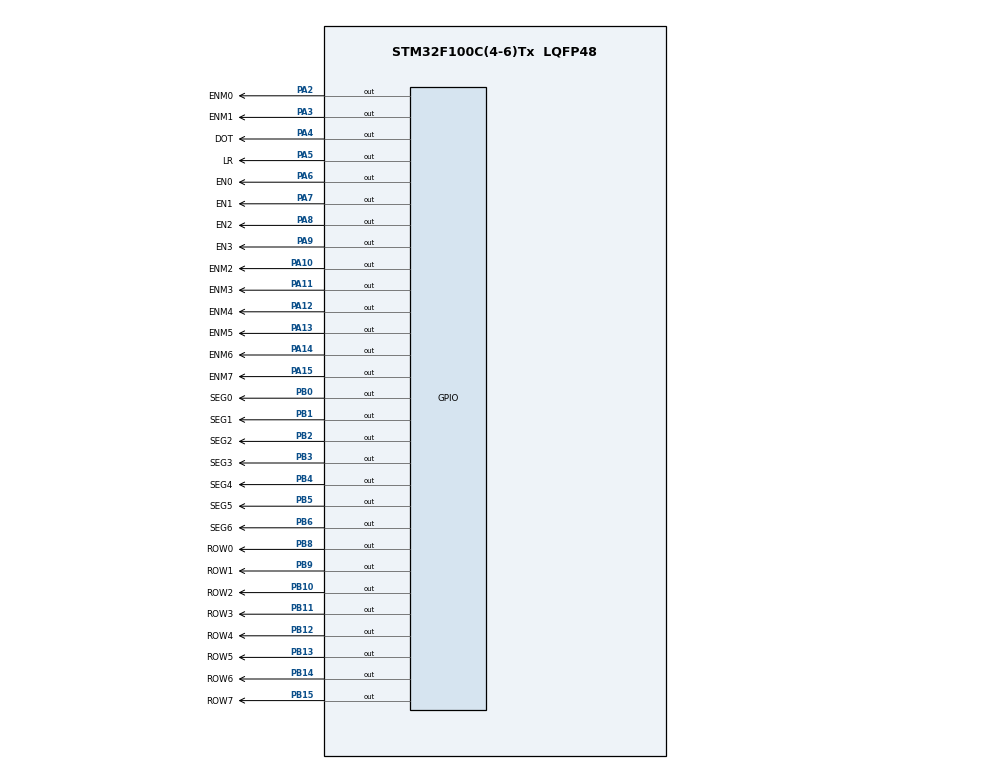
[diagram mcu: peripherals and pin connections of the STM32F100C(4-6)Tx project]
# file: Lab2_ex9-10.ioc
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Mcu.Family=STM32F1
Mcu.Name=STM32F100C(4-6)Tx
Mcu.Package=LQFP48
NVIC.PriorityGroup=NVIC_PRIORITYGROUP_4
NVIC.TIM2_IRQn=true\:0\:0\:false\:false\:true\:true\:true\:true
PA10.GPIO_Label=ENM2
PA10.Signal=GPIO_Output
PA11.GPIO_Label=ENM3
PA11.Signal=GPIO_Output
PA12.GPIO_Label=ENM4
PA12.Signal=GPIO_Output
PA13.GPIO_Label=ENM5
PA13.Signal=GPIO_Output
PA14.GPIO_Label=ENM6
PA14.Signal=GPIO_Output
PA15.GPIO_Label=ENM7
PA15.Signal=GPIO_Output
PA2.GPIO_Label=ENM0
PA2.Signal=GPIO_Output
PA3.GPIO_Label=ENM1
PA3.Signal=GPIO_Output
PA4.GPIO_Label=DOT
PA4.Signal=GPIO_Output
PA5.GPIO_Label=LR
PA5.Signal=GPIO_Output
PA6.GPIO_Label=EN0
PA6.Signal=GPIO_Output
PA7.GPIO_Label=EN1
PA7.Signal=GPIO_Output
PA8.GPIO_Label=EN2
PA8.Signal=GPIO_Output
PA9.GPIO_Label=EN3
PA9.Signal=GPIO_Output
PB0.GPIO_Label=SEG0
PB0.Signal=GPIO_Output
PB1.GPIO_Label=SEG1
PB1.Signal=GPIO_Output
PB10.GPIO_Label=ROW2
PB10.Signal=GPIO_Output
PB11.GPIO_Label=ROW3
PB11.Signal=GPIO_Output
PB12.GPIO_Label=ROW4
PB12.Signal=GPIO_Output
PB13.GPIO_Label=ROW5
PB13.Signal=GPIO_Output
PB14.GPIO_Label=ROW6
PB14.Signal=GPIO_Output
PB15.GPIO_Label=ROW7
PB15.Signal=GPIO_Output
PB2.GPIO_Label=SEG2
PB2.Signal=GPIO_Output
PB3.GPIO_Label=SEG3
PB3.Signal=GPIO_Output
PB4.GPIO_Label=SEG4
PB4.Signal=GPIO_Output
PB5.GPIO_Label=SEG5
PB5.Signal=GPIO_Output
PB6.GPIO_Label=SEG6
PB6.Signal=GPIO_Output
PB8.GPIO_Label=ROW0
PB8.Signal=GPIO_Output
PB9.GPIO_Label=ROW1
PB9.Signal=GPIO_Output
ProjectManager.HeapSize=0x200
ProjectManager.StackSize=0x400
ProjectManager.TargetToolchain=STM32CubeIDE
RCC.APB1Freq_Value=8000000
RCC.APB2Freq_Value=8000000
TIM2.Period=1
TIM2.Prescaler=7999
VP_SYS_VS_ND.Mode=No_Debug
VP_TIM2_VS_ClockSourceINT.Mode=Internal
board=custom

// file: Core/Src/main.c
/* USER CODE BEGIN Header */
/**
  ******************************************************************************
  * @file           : main.c
  * @brief          : Main program body
  ******************************************************************************
  * @attention
  *
  * Copyright (c) 2024 STMicroelectronics.
  * All rights reserved.
  *
  * This software is licensed under terms that can be found in the LICENSE file
  * in the root directory of this software component.
  * If no LICENSE file comes with this software, it is provided AS-IS.
  *
  ******************************************************************************
  */
/* USER CODE END Header */
#include "main.h"

/* USER CODE BEGIN Includes */
#include "software_timer.h"
/* USER CODE END Includes */

TIM_HandleTypeDef htim2;

void SystemClock_Config(void);
static void MX_GPIO_Init(void);
static void MX_TIM2_Init(void);

/* USER CODE BEGIN 0 */
//khai bao bien
extern int led_buffer[];
const int MAX_LED_MATRIX = 8;
int index_led_matrix = 0;

int scroll_index = 0;

uint8_t matrix_buffer[8] = {
	    0x18,  // 00011000
	    0x24,  // 00100100
	    0x24,  // 00100100
	    0x7E,  // 01111110
	    0x7E,  // 01111110
	    0x42,  // 01000010
	    0x42,  // 01000010
		0x42,

};

uint8_t full_matrix_buffer[16] = {
    0x00, // 0 - Hàng trống dưới cùng
    0x00, // 1
    0x00, // 2
    0x00, // 3
    0x18, // 4  - Dữ liệu chữ "A" bắt đầu từ đây
    0x24, // 5
    0x24, // 6
    0x7E, // 7
    0x7E, // 8
    0x42, // 9
    0x42, // 10
    0x42, // 11
    0x00, // 12 - Hàng trống trên cùng
    0x00, // 13
    0x00, // 14
    0x00  // 15
};

//end khai bao bien

//khai bao ham
void display7SEG(int num){
		 		  switch (num){

		 		  case 0: //so 0

		 			 	 		  HAL_GPIO_WritePin(GPIOB, SEG0_Pin, 0);
		 			 	 		  HAL_GPIO_WritePin(GPIOB, SEG1_Pin, 0);
		 			 	 		  HAL_GPIO_WritePin(GPIOB, SEG2_Pin, 0);
		 			 	 		  HAL_GPIO_WritePin(GPIOB, SEG3_Pin, 0);
		 			 	 		  HAL_GPIO_WritePin(GPIOB, SEG4_Pin, 0);
		 			 	 		  HAL_GPIO_WritePin(GPIOB, SEG5_Pin, 0);
		 			 	 		  HAL_GPIO_WritePin(GPIOB, SEG6_Pin, 1);

		 			 	 		  break;
		 		  case 1: //so 1

		 			 	 		  HAL_GPIO_WritePin(GPIOB, SEG0_Pin, 1);
		 			 	 		  HAL_GPIO_WritePin(GPIOB, SEG1_Pin, 0);
		 			 	 		  HAL_GPIO_WritePin(GPIOB, SEG2_Pin, 0);
		 			 	 		  HAL_GPIO_WritePin(GPIOB, SEG3_Pin, 1);
		 			 	 		  HAL_GPIO_WritePin(GPIOB, SEG4_Pin, 1);
		 			 	 		  HAL_GPIO_WritePin(GPIOB, SEG5_Pin, 1);
		 			 	 		  HAL_GPIO_WritePin(GPIOB, SEG6_Pin, 1);

		 			 	 		  break;
		 		  case 2: //so 2

		 			 	 		  HAL_GPIO_WritePin(GPIOB, SEG0_Pin, 0);
		 			 	 		  HAL_GPIO_WritePin(GPIOB, SEG1_Pin, 0);
		 			 	 		  HAL_GPIO_WritePin(GPIOB, SEG2_Pin, 1);
		 			 	 		  HAL_GPIO_WritePin(GPIOB, SEG3_Pin, 0);
		 			 	 		  HAL_GPIO_WritePin(GPIOB, SEG4_Pin, 0);
		 			 	 		  HAL_GPIO_WritePin(GPIOB, SEG5_Pin, 1);
		 			 	 		  HAL_GPIO_WritePin(GPIOB, SEG6_Pin, 0);

		 			 	 		  break;

		 		  case 3: //so 3

		 			 	 		  HAL_GPIO_WritePin(GPIOB, SEG0_Pin, 0);
		 			 	 		  HAL_GPIO_WritePin(GPIOB, SEG1_Pin, 0);
		 			 	 		  HAL_GPIO_WritePin(GPIOB, SEG2_Pin, 0);
		 			 	 		  HAL_GPIO_WritePin(GPIOB, SEG3_Pin, 0);
		 			 	 		  HAL_GPIO_WritePin(GPIOB, SEG4_Pin, 1);
		 			 	 		  HAL_GPIO_WritePin(GPIOB, SEG5_Pin, 1);
		 			 	 		  HAL_GPIO_WritePin(GPIOB, SEG6_Pin, 0);

		 			 	 		  break;
		 		  case 4: //so 4
								  HAL_GPIO_WritePin(GPIOB, SEG0_Pin, 1);
								  HAL_GPIO_WritePin(GPIOB, SEG1_Pin, 0);
								  HAL_GPIO_WritePin(GPIOB, SEG2_Pin, 0);
								  HAL_GPIO_WritePin(GPIOB, SEG3_Pin, 1);
								  HAL_GPIO_WritePin(GPIOB, SEG4_Pin, 1);
								  HAL_GPIO_WritePin(GPIOB, SEG5_Pin, 0);
								  HAL_GPIO_WritePin(GPIOB, SEG6_Pin, 0);
								  break;
		 		  case 5: //so 5
								  HAL_GPIO_WritePin(GPIOB, SEG0_Pin, 0);
								  HAL_GPIO_WritePin(GPIOB, SEG1_Pin, 1);
								  HAL_GPIO_WritePin(GPIOB, SEG2_Pin, 0);
								  HAL_GPIO_WritePin(GPIOB, SEG3_Pin, 0);
								  HAL_GPIO_WritePin(GPIOB, SEG4_Pin, 1);
								  HAL_GPIO_WritePin(GPIOB, SEG5_Pin, 0);
								  HAL_GPIO_WritePin(GPIOB, SEG6_Pin, 0);
								  break;
		 		  case 6: //so 6
								  HAL_GPIO_WritePin(GPIOB, SEG0_Pin, 0);
								  HAL_GPIO_WritePin(GPIOB, SEG1_Pin, 1);
								  HAL_GPIO_WritePin(GPIOB, SEG2_Pin, 0);
								  HAL_GPIO_WritePin(GPIOB, SEG3_Pin, 0);
								  HAL_GPIO_WritePin(GPIOB, SEG4_Pin, 0);
								  HAL_GPIO_WritePin(GPIOB, SEG5_Pin, 0);
								  HAL_GPIO_WritePin(GPIOB, SEG6_Pin, 0);
								  break;
		 		  case 7: //so 7
								  HAL_GPIO_WritePin(GPIOB, SEG0_Pin, 0);
								  HAL_GPIO_WritePin(GPIOB, SEG1_Pin, 0);
								  HAL_GPIO_WritePin(GPIOB, SEG2_Pin, 0);
								  HAL_GPIO_WritePin(GPIOB, SEG3_Pin, 1);
								  HAL_GPIO_WritePin(GPIOB, SEG4_Pin, 1);
								  HAL_GPIO_WritePin(GPIOB, SEG5_Pin, 1);
								  HAL_GPIO_WritePin(GPIOB, SEG6_Pin, 1);
								  break;
		 		  case 8: //so 8
								  HAL_GPIO_WritePin(GPIOB, SEG0_Pin, 0);
								  HAL_GPIO_WritePin(GPIOB, SEG1_Pin, 0);
								  HAL_GPIO_WritePin(GPIOB, SEG2_Pin, 0);
								  HAL_GPIO_WritePin(GPIOB, SEG3_Pin, 0);
								  HAL_GPIO_WritePin(GPIOB, SEG4_Pin, 0);
								  HAL_GPIO_WritePin(GPIOB, SEG5_Pin, 0);
								  HAL_GPIO_WritePin(GPIOB, SEG6_Pin, 0);
								  break;
		 		  case 9: //so 9
								  HAL_GPIO_WritePin(GPIOB, SEG0_Pin, 0);
								  HAL_GPIO_WritePin(GPIOB, SEG1_Pin, 0);
								  HAL_GPIO_WritePin(GPIOB, SEG2_Pin, 0);
								  HAL_GPIO_WritePin(GPIOB, SEG3_Pin, 0);
								  HAL_GPIO_WritePin(GPIOB, SEG4_Pin, 1);
								  HAL_GPIO_WritePin(GPIOB, SEG5_Pin, 0);
								  HAL_GPIO_WritePin(GPIOB, SEG6_Pin, 0);
								  break;

		 		  default:
		 			  	  	  	  break;

		 		  }

}

void updateLEDMatrix(int index) {
    HAL_GPIO_WritePin(GPIOA, ENM0_Pin | ENM1_Pin | ENM2_Pin | ENM3_Pin | ENM4_Pin | ENM5_Pin | ENM6_Pin | ENM7_Pin, GPIO_PIN_SET); // Tắt tất cả cột
    switch (index) {
        case 0: HAL_GPIO_WritePin(GPIOA, ENM0_Pin, GPIO_PIN_RESET); break;
        case 1: HAL_GPIO_WritePin(GPIOA, ENM1_Pin, GPIO_PIN_RESET); break;
        case 2: HAL_GPIO_WritePin(GPIOA, ENM2_Pin, GPIO_PIN_RESET); break;
        case 3: HAL_GPIO_WritePin(GPIOA, ENM3_Pin, GPIO_PIN_RESET); break;
        case 4: HAL_GPIO_WritePin(GPIOA, ENM4_Pin, GPIO_PIN_RESET); break;
        case 5: HAL_GPIO_WritePin(GPIOA, ENM5_Pin, GPIO_PIN_RESET); break;
        case 6: HAL_GPIO_WritePin(GPIOA, ENM6_Pin, GPIO_PIN_RESET); break;
        case 7: HAL_GPIO_WritePin(GPIOA, ENM7_Pin, GPIO_PIN_RESET); break;
        default: break;
    }
    //on/off cac led tren hang dua tren phan tu cua matrix_buffer
    HAL_GPIO_WritePin(ROW0_GPIO_Port, ROW0_Pin, (matrix_buffer[index] & 0x01) ? GPIO_PIN_RESET : GPIO_PIN_SET);
    HAL_GPIO_WritePin(ROW1_GPIO_Port, ROW1_Pin, (matrix_buffer[index] & 0x02) ? GPIO_PIN_RESET : GPIO_PIN_SET);
    HAL_GPIO_WritePin(ROW2_GPIO_Port, ROW2_Pin, (matrix_buffer[index] & 0x04) ? GPIO_PIN_RESET : GPIO_PIN_SET);
    HAL_GPIO_WritePin(ROW3_GPIO_Port, ROW3_Pin, (matrix_buffer[index] & 0x08) ? GPIO_PIN_RESET : GPIO_PIN_SET);
    HAL_GPIO_WritePin(ROW4_GPIO_Port, ROW4_Pin, (matrix_buffer[index] & 0x10) ? GPIO_PIN_RESET : GPIO_PIN_SET);
    HAL_GPIO_WritePin(ROW5_GPIO_Port, ROW5_Pin, (matrix_buffer[index] & 0x20) ? GPIO_PIN_RESET : GPIO_PIN_SET);
    HAL_GPIO_WritePin(ROW6_GPIO_Port, ROW6_Pin, (matrix_buffer[index] & 0x40) ? GPIO_PIN_RESET : GPIO_PIN_SET);
    HAL_GPIO_WritePin(ROW7_GPIO_Port, ROW7_Pin, (matrix_buffer[index] & 0x80) ? GPIO_PIN_RESET : GPIO_PIN_SET);

}

//2 cham chinh giua down
//void shiftDown() {
//    uint8_t last_row = matrix_buffer[7];  // Lưu hàng cuối cùng
//    for (int i = 7; i > 0; i--) {
//        matrix_buffer[i] = matrix_buffer[i - 1];  // Dịch từng hàng xuống
//    }
//    matrix_buffer[0] = last_row;  // Đưa hàng cuối lên đầu
//}

void updateMatrixBuffer() {
    for (int i = 0; i < 8; i++) {
        int idx = i + scroll_index;
        if (idx >= 0 && idx < 16) {
            matrix_buffer[i] = full_matrix_buffer[idx];
        } else {
            matrix_buffer[i] = 0x00; // Hàng trống
        }
    }
}

//end khai bao ham
/* USER CODE END 0 */

int main(void)
{

  /* MCU Configuration--------------------------------------------------------*/

  /* Reset of all peripherals, Initializes the Flash interface and the Systick. */
  HAL_Init();

  /* Configure the system clock */
  SystemClock_Config();

  /* Initialize all configured peripherals */
  MX_GPIO_Init();
  MX_TIM2_Init();
  /* USER CODE BEGIN 2 */
  HAL_TIM_Base_Start_IT(&htim2);

  /* USER CODE END 2 */

  /* Infinite loop */
  /* USER CODE BEGIN WHILE */

  int hour = 12 , minute = 4 , second = 50;
  const int MAX_LED = 4;
  	setTimer1(500);
  	setTimer2(100);
  	setTimer0(100);
  	setTimer3(100);
  	setTimer4(100);
  	int index_led = 0;
  	int index_led8x8 = 0;
  while (1)
  {
	  if(timer1_flag == 1){
		  index_led++;
		  switch(index_led){
		  case 1:

			  display7SEG(led_buffer[0]);

		  	  HAL_GPIO_WritePin(GPIOA, EN0_Pin, 0);
			  HAL_GPIO_WritePin(GPIOA, EN1_Pin, 1);
			  HAL_GPIO_WritePin(GPIOA, EN2_Pin, 1);
			  HAL_GPIO_WritePin(GPIOA, EN3_Pin, 1);

			  break;
		  case 2:
			  display7SEG(led_buffer[1]);

			  HAL_GPIO_WritePin(GPIOA, EN0_Pin, 1);
			  HAL_GPIO_WritePin(GPIOA, EN1_Pin, 0);
			  HAL_GPIO_WritePin(GPIOA, EN2_Pin, 1);
			  HAL_GPIO_WritePin(GPIOA, EN3_Pin, 1);

			  break;
		  case 3:
			  display7SEG(led_buffer[2]);

			  HAL_GPIO_WritePin(GPIOA, EN0_Pin, 1);
			  HAL_GPIO_WritePin(GPIOA, EN1_Pin, 1);
			  HAL_GPIO_WritePin(GPIOA, EN2_Pin, 0);
			  HAL_GPIO_WritePin(GPIOA, EN3_Pin, 1);

			  break;
		  case 4:
			  display7SEG(led_buffer[3]);

				  HAL_GPIO_WritePin(GPIOA, EN0_Pin, 1);
				  HAL_GPIO_WritePin(GPIOA, EN1_Pin, 1);
				  HAL_GPIO_WritePin(GPIOA, EN2_Pin, 1);
				  HAL_GPIO_WritePin(GPIOA, EN3_Pin, 0);

				  break;

			  default:
				  break;
		  }
				 if(index_led >= MAX_LED){
					 index_led = 0;
				 }
				 setTimer1(500);

	  } //end if

	  //timer2_flag manages clock logic
	  	  if(timer2_flag == 1){
	  		  second++;

	  		  if ( second >= 60) {
	  		  	   second = 0;
	  		  	   minute ++;
	  		 }
	  		  if( minute >= 60) {
	  		  	   minute = 0;
	  		  	   hour ++;
	  		 }
	  		  if( hour >= 24) {
	  		  	   hour = 0;
	  		 }
	  		 updateClockBuffer(hour, minute);
	  		 setTimer2(100);
	  	  }

	  	  	 if(timer0_flag == 1){
		  		  HAL_GPIO_TogglePin(DOT_GPIO_Port , DOT_Pin);
				  HAL_GPIO_TogglePin(GPIOA, LR_Pin);
				  setTimer0(100);
	  	  	 }

	  	  	if (timer3_flag == 1) {
	  	  	    scroll_index++;
	  	  	    if (scroll_index > 8) { // 16 (kích thước mảng) - 8 (kích thước ma trận LED)
	  	  	        scroll_index = 0;
	  	  	    }
	  	  	    updateMatrixBuffer();
	  	  	    setTimer3(100);
	  	  	}

	  	  	if(timer4_flag == 1){
				  updateLEDMatrix(index_led8x8);
				  	  	  		index_led8x8++;
				  	  	  		if(index_led8x8 >= MAX_LED_MATRIX ){
				  	  	  			index_led8x8 = 0;
				  	  	  		}
				  	  	  		setTimer4(2);
	  	  	}

    /* USER CODE END WHILE */

  }
}

void SystemClock_Config(void)
{
  RCC_OscInitTypeDef RCC_OscInitStruct = {0};
  RCC_ClkInitTypeDef RCC_ClkInitStruct = {0};

  /** Initializes the RCC Oscillators according to the specified parameters
  * in the RCC_OscInitTypeDef structure.
  */
  RCC_OscInitStruct.OscillatorType = RCC_OSCILLATORTYPE_HSI;
  RCC_OscInitStruct.HSIState = RCC_HSI_ON;
  RCC_OscInitStruct.HSICalibrationValue = RCC_HSICALIBRATION_DEFAULT;
  RCC_OscInitStruct.PLL.PLLState = RCC_PLL_NONE;
  if (HAL_RCC_OscConfig(&RCC_OscInitStruct) != HAL_OK)
  {
    Error_Handler();
  }

  /** Initializes the CPU, AHB and APB buses clocks
  */
  RCC_ClkInitStruct.ClockType = RCC_CLOCKTYPE_HCLK|RCC_CLOCKTYPE_SYSCLK
                              |RCC_CLOCKTYPE_PCLK1|RCC_CLOCKTYPE_PCLK2;
  RCC_ClkInitStruct.SYSCLKSource = RCC_SYSCLKSOURCE_HSI;
  RCC_ClkInitStruct.AHBCLKDivider = RCC_SYSCLK_DIV1;
  RCC_ClkInitStruct.APB1CLKDivider = RCC_HCLK_DIV1;
  RCC_ClkInitStruct.APB2CLKDivider = RCC_HCLK_DIV1;

  if (HAL_RCC_ClockConfig(&RCC_ClkInitStruct, FLASH_LATENCY_0) != HAL_OK)
  {
    Error_Handler();
  }
}

static void MX_TIM2_Init(void)
{

  TIM_ClockConfigTypeDef sClockSourceConfig = {0};
  TIM_MasterConfigTypeDef sMasterConfig = {0};

  htim2.Instance = TIM2;
  htim2.Init.Prescaler = 7999;
  htim2.Init.CounterMode = TIM_COUNTERMODE_UP;
  htim2.Init.Period = 1;
  htim2.Init.ClockDivision = TIM_CLOCKDIVISION_DIV1;
  htim2.Init.AutoReloadPreload = TIM_AUTORELOAD_PRELOAD_DISABLE;
  if (HAL_TIM_Base_Init(&htim2) != HAL_OK)
  {
    Error_Handler();
  }
  sClockSourceConfig.ClockSource = TIM_CLOCKSOURCE_INTERNAL;
  if (HAL_TIM_ConfigClockSource(&htim2, &sClockSourceConfig) != HAL_OK)
  {
    Error_Handler();
  }
  sMasterConfig.MasterOutputTrigger = TIM_TRGO_RESET;
  sMasterConfig.MasterSlaveMode = TIM_MASTERSLAVEMODE_DISABLE;
  if (HAL_TIMEx_MasterConfigSynchronization(&htim2, &sMasterConfig) != HAL_OK)
  {
    Error_Handler();
  }

}

static void MX_GPIO_Init(void)
{
  GPIO_InitTypeDef GPIO_InitStruct = {0};

  /* GPIO Ports Clock Enable */
  __HAL_RCC_GPIOA_CLK_ENABLE();
  __HAL_RCC_GPIOB_CLK_ENABLE();

  /*Configure GPIO pin Output Level */
  HAL_GPIO_WritePin(GPIOA, ENM0_Pin|ENM1_Pin|DOT_Pin|LR_Pin
                          |EN0_Pin|EN1_Pin|EN2_Pin|EN3_Pin
                          |ENM2_Pin|ENM3_Pin|ENM4_Pin|ENM5_Pin
                          |ENM6_Pin|ENM7_Pin, GPIO_PIN_RESET);

  /*Configure GPIO pin Output Level */
  HAL_GPIO_WritePin(GPIOB, SEG0_Pin|SEG1_Pin|SEG2_Pin|ROW2_Pin
                          |ROW3_Pin|ROW4_Pin|ROW5_Pin|ROW6_Pin
                          |ROW7_Pin|SEG3_Pin|SEG4_Pin|SEG5_Pin
                          |SEG6_Pin|ROW0_Pin|ROW1_Pin, GPIO_PIN_RESET);

  /*Configure GPIO pins : ENM0_Pin ENM1_Pin DOT_Pin LR_Pin
                           EN0_Pin EN1_Pin EN2_Pin EN3_Pin
                           ENM2_Pin ENM3_Pin ENM4_Pin ENM5_Pin
                           ENM6_Pin ENM7_Pin */
  GPIO_InitStruct.Pin = ENM0_Pin|ENM1_Pin|DOT_Pin|LR_Pin
                          |EN0_Pin|EN1_Pin|EN2_Pin|EN3_Pin
                          |ENM2_Pin|ENM3_Pin|ENM4_Pin|ENM5_Pin
                          |ENM6_Pin|ENM7_Pin;
  GPIO_InitStruct.Mode = GPIO_MODE_OUTPUT_PP;
  GPIO_InitStruct.Pull = GPIO_NOPULL;
  GPIO_InitStruct.Speed = GPIO_SPEED_FREQ_LOW;
  HAL_GPIO_Init(GPIOA, &GPIO_InitStruct);

  /*Configure GPIO pins : SEG0_Pin SEG1_Pin SEG2_Pin ROW2_Pin
                           ROW3_Pin ROW4_Pin ROW5_Pin ROW6_Pin
                           ROW7_Pin SEG3_Pin SEG4_Pin SEG5_Pin
                           SEG6_Pin ROW0_Pin ROW1_Pin */
  GPIO_InitStruct.Pin = SEG0_Pin|SEG1_Pin|SEG2_Pin|ROW2_Pin
                          |ROW3_Pin|ROW4_Pin|ROW5_Pin|ROW6_Pin
                          |ROW7_Pin|SEG3_Pin|SEG4_Pin|SEG5_Pin
                          |SEG6_Pin|ROW0_Pin|ROW1_Pin;
  GPIO_InitStruct.Mode = GPIO_MODE_OUTPUT_PP;
  GPIO_InitStruct.Pull = GPIO_NOPULL;
  GPIO_InitStruct.Speed = GPIO_SPEED_FREQ_LOW;
  HAL_GPIO_Init(GPIOB, &GPIO_InitStruct);

}

/* USER CODE BEGIN 4 */
void HAL_TIM_PeriodElapsedCallback(TIM_HandleTypeDef *htim){
	timer_run();

}
/* USER CODE END 4 */

void Error_Handler(void)
{
  __disable_irq();
  while (1)
  {
  }
}
